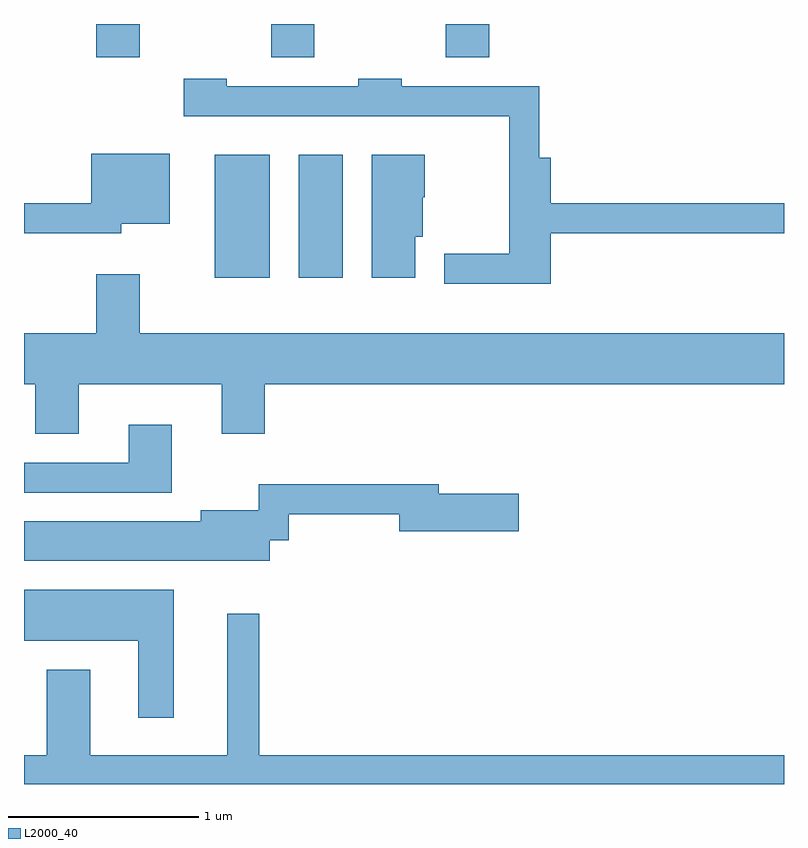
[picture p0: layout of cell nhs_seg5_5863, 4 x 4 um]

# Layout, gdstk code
import gdstk
lib = gdstk.Library(unit=1e-6, precision=1e-09)
def R(c, l, rs):  # rectangles x0, y0, x1, y1
    for r in rs: c.add(gdstk.rectangle(r[:2], r[2:], *l))
def A(c, l, x, y, w, h, nx, ny, dx, dy):  # array of equal rectangles
    R(c, l, [(x+i*dx, y+j*dy, x+i*dx+w, y+j*dy+h) for i in range(nx) for j in range(ny)])
def P(c, l, *ps):  # polygons
    for p in ps: c.add(gdstk.Polygon(p, *l))
L2000_40 = (2000, 40)

nhs_seg5_5863 = lib.new_cell('nhs_seg5_5863')
A(nhs_seg5_5863, L2000_40, 359.991, 1411.896, 0.228, 0.176, 3, 1, 0.92, 0)
R(nhs_seg5_5863, L2000_40, [(360.616,1410.736,360.904,1411.384), (361.056,1410.736,361.289,1411.384)])
P(nhs_seg5_5863, L2000_40, [(362.384,1410.971),(363.611,1410.971),(363.611,1411.129),(362.384,1411.129),(362.384,1411.369),(362.324,1411.369),(362.324,1411.744),(361.599,1411.744),(361.599,1411.784),(361.371,1411.784),(361.371,1411.744),(360.679,1411.744),(360.679,1411.784),(360.451,1411.784),(360.451,1411.586),(362.166,1411.586),(362.166,1410.864),(361.823,1410.864),(361.823,1410.706),(362.384,1410.706)],
  [(360.124,1411.021),(360.379,1411.021),(360.379,1411.389),(359.966,1411.389),(359.966,1411.129),(359.611,1411.129),(359.611,1410.971),(360.124,1410.971)],
  [(361.669,1410.951),(361.709,1410.951),(361.709,1411.16),(361.719,1411.16),(361.719,1411.384),(361.441,1411.384),(361.441,1410.736),(361.669,1410.736)],
  [(359.899,1410.176),(360.651,1410.176),(360.651,1409.916),(360.879,1409.916),(360.879,1410.176),(363.611,1410.176),(363.611,1410.444),(360.219,1410.444),(360.219,1410.754),(359.991,1410.754),(359.991,1410.444),(359.611,1410.444),(359.611,1410.176),(359.671,1410.176),(359.671,1409.916),(359.899,1409.916)],
  [(360.389,1409.964),(360.161,1409.964),(360.161,1409.764),(359.611,1409.764),(359.611,1409.606),(360.389,1409.606)],
  [(360.904,1409.356),(361.004,1409.356),(361.004,1409.491),(361.586,1409.491),(361.586,1409.401),(362.214,1409.401),(362.214,1409.599),(361.794,1409.599),(361.794,1409.649),(360.846,1409.649),(360.846,1409.514),(360.541,1409.514),(360.541,1409.454),(359.611,1409.454),(359.611,1409.246),(360.904,1409.246)],
  [(360.399,1409.094),(359.611,1409.094),(359.611,1408.826),(360.211,1408.826),(360.211,1408.421),(360.399,1408.421)],
  [(363.611,1408.224),(360.849,1408.224),(360.849,1408.968),(360.681,1408.968),(360.681,1408.224),(359.959,1408.224),(359.959,1408.674),(359.731,1408.674),(359.731,1408.224),(359.611,1408.224),(359.611,1408.072),(363.611,1408.072)])

lib.write_gds('nhs_seg5_5863.gds')
